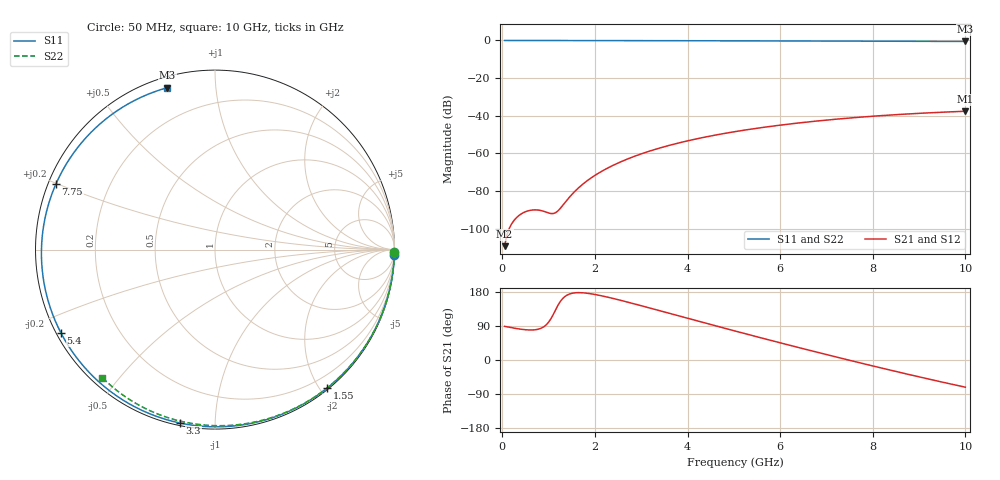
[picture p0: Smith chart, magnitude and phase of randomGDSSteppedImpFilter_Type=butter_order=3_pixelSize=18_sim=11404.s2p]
! freq	dB(S11)	phase(S11)	dB(S12)	phase(S12)
!  dB(S21)	phase(S21)	dB(S22)	phase(S22)
!S-par simulation data
#  GHz  S  DB  R 50
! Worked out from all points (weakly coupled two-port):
!   200 points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, 50 MHz to 10 GHz, reference 50 ohm
!   highest |S21| = -37.59 dB at 10 GHz (marker M1); lowest = -109.2 dB at 50 MHz (marker M2)
!   lowest |S11| = -0.5 dB at 10 GHz (marker M3), VSWR 32.49, Z = 2.4 + j37.4 ohm
!   |S11| at or under -10 dB: nowhere
!   |S22| runs from -0.4 to 0.0 dB; largest |S21 - S12| = 0
!   S11 on the Smith chart (normalised r, x): 50 MHz: 0, -67; 1.55 GHz: 0.02, -2.09; 3.3 GHz: 0.01, -0.82; 5.4 GHz: 0.01, -0.25; 7.75 GHz: 0.02, +0.20; 10 GHz: 0.05, +0.75
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0.05  -0.00 -1.7  -109.22 88.8  -109.22 88.8  -0.00 -0.8
0.4  -0.02 -13.6  -92.22 81.2  -92.22 81.2  -0.01 -6.1
0.75  -0.03 -25.3  -89.98 80.5  -89.98 80.5  -0.01 -11.3
1.15  -0.05 -38.4  -91.46 132.2  -91.46 132.2  -0.02 -17.3
1.55  -0.06 -51.1  -80.54 177.0  -80.54 177.0  -0.03 -23.2
1.6  -0.07 -52.7  -79.32 177.6  -79.32 177.6  -0.03 -24.0
1.75  -0.07 -57.3  -76.07 177.2  -76.07 177.2  -0.03 -26.2
2.05  -0.08 -66.4  -70.88 171.8  -70.88 171.8  -0.04 -30.6
2.4  -0.09 -76.7  -66.21 162.2  -66.21 162.2  -0.05 -35.6
2.8  -0.11 -88.0  -62.01 149.8  -62.01 149.8  -0.05 -41.4
3.3  -0.12 -101.4  -57.84 133.4  -57.84 133.4  -0.06 -48.4
3.4  -0.13 -104.0  -57.11 130.1  -57.11 130.1  -0.07 -49.8
4.25  -0.16 -125.2  -51.96 101.9  -51.96 101.9  -0.09 -61.5
5.05  -0.19 -143.8  -48.31 75.7  -48.31 75.7  -0.11 -72.1
5.4  -0.21 -151.6  -46.97 64.4  -46.97 64.4  -0.12 -76.7
6.05  -0.25 -165.8  -44.82 43.8  -44.82 43.8  -0.15 -84.9
6.7  -0.29 -179.8  -43.01 23.5  -43.01 23.5  -0.18 -93.0
7.2  -0.33 169.5  -41.82 8.2  -41.82 8.2  -0.21 -99.0
7.75  -0.37 157.7  -40.69 -8.3  -40.69 -8.3  -0.24 -105.6
8.35  -0.41 144.5  -39.64 -25.9  -39.64 -25.9  -0.29 -112.6
9.2  -0.48 125.3  -38.44 -50.1  -38.44 -50.1  -0.36 -122.3
10  -0.53 106.4  -37.59 -71.8  -37.59 -71.8  -0.44 -131.3
